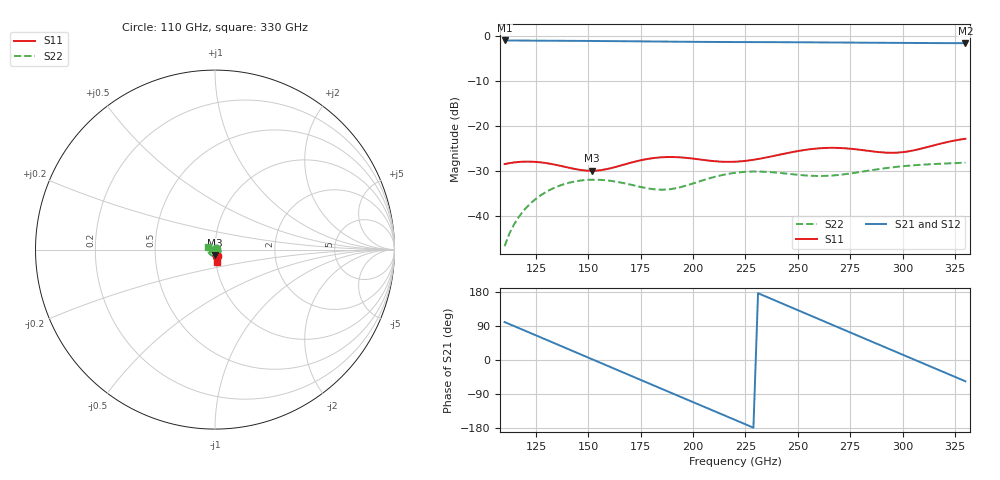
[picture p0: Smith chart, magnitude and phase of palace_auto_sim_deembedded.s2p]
! Created with skrf 1.11.0 (http://scikit-rf.org).
# GHz S DB R 50.0
!freq dBS11 angS11 dBS21 angS21 dBS12 angS12 dBS22 angS22
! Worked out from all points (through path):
!   101 points, 110 GHz to 330 GHz, reference 50 ohm
!   highest |S21| = -0.95 dB at 110 GHz (marker M1); lowest = -1.6 dB at 330 GHz (marker M2)
!   group delay of S21, straight-line fit = 6.52 ps
!   lowest |S11| = -29.9 dB at 151.8 GHz (marker M3), VSWR 1.07, Z = 49.9 - j3.2 ohm
!   |S11| at or under -10 dB: start of sweep to end of sweep
!   |S22| runs from -46.6 to -28.1 dB; largest |S21 - S12| = 1e-13
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110  -28.41 -72.9  -0.95 100.1  -0.95 100.1  -46.64 23.7
114.4  -28.06 -77.5  -0.97 89.8  -0.97 89.8  -41.90 14.7
123.2  -27.88 -86.5  -0.99 69.2  -0.99 69.2  -36.80 -6.4
136.4  -28.77 -94.8  -1.02 38.2  -1.02 38.2  -33.17 -41.6
147.4  -29.78 -92.4  -1.06 12.3  -1.06 12.3  -32.01 -74.1
151.8  -29.90 -89.1  -1.07 1.9  -1.07 1.9  -31.88 -88.2
167.2  -28.50 -81.0  -1.12 -34.3  -1.12 -34.3  -32.68 -144.8
184.8  -26.91 -87.6  -1.20 -75.6  -1.20 -75.6  -34.10 128.7
193.6  -26.91 -92.2  -1.23 -96.3  -1.23 -96.3  -33.58 80.1
202.4  -27.34 -94.4  -1.26 -116.8  -1.26 -116.8  -32.35 35.1
220  -27.89 -88.2  -1.31 -158.0  -1.31 -158.0  -30.36 -43.7
228.8  -27.46 -83.8  -1.32 -178.6  -1.32 -178.6  -30.07 -81.5
237.6  -26.69 -81.2  -1.33 160.7  -1.33 160.7  -30.22 -120.2
246.4  -25.84 -81.3  -1.35 140.0  -1.35 140.0  -30.62 -161.1
257.4  -25.03 -84.7  -1.38 114.1  -1.38 114.1  -31.03 144.2
266.2  -24.80 -88.5  -1.40 93.4  -1.40 93.4  -30.96 98.9
275  -25.00 -91.5  -1.43 72.7  -1.43 72.7  -30.50 54.4
283.8  -25.48 -91.9  -1.45 52.1  -1.45 52.1  -29.87 11.8
294.8  -25.90 -86.8  -1.48 26.3  -1.48 26.3  -29.15 -39.2
303.6  -25.52 -80.8  -1.51 5.7  -1.51 5.7  -28.74 -79.1
312.4  -24.56 -77.4  -1.53 -14.9  -1.53 -14.9  -28.47 -119.2
330  -22.79 -81.1  -1.56 -56.2  -1.56 -56.2  -28.09 158.4
